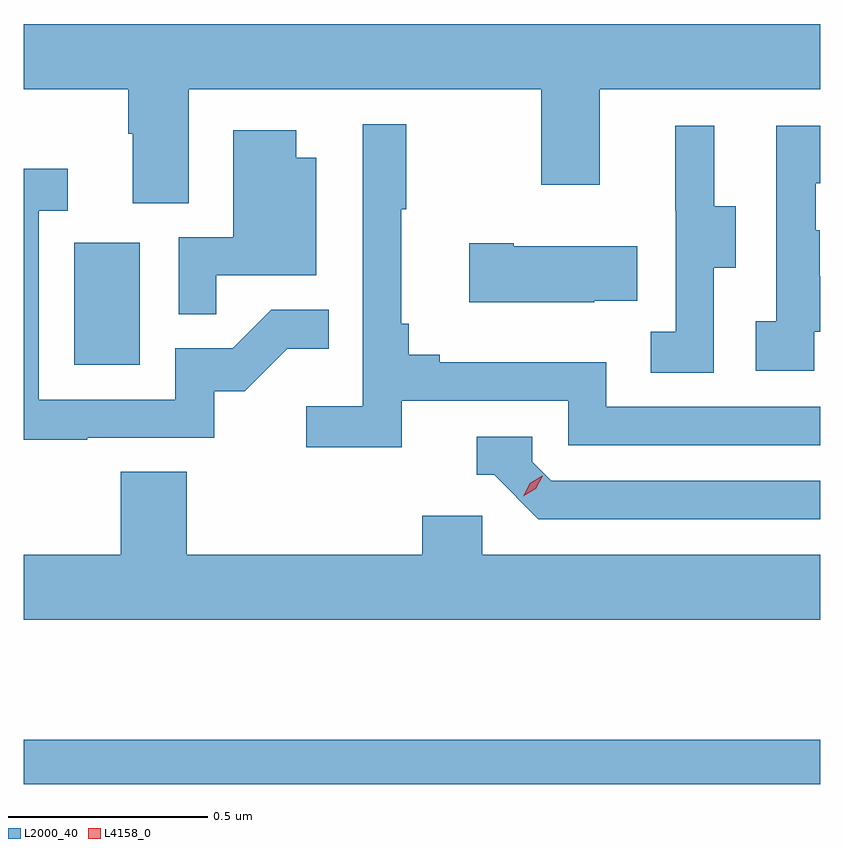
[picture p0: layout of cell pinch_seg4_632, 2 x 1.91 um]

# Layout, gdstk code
import gdstk
lib = gdstk.Library(unit=1e-6, precision=1e-09)
def R(c, l, rs):  # rectangles x0, y0, x1, y1
    for r in rs: c.add(gdstk.rectangle(r[:2], r[2:], *l))
def P(c, l, *ps):  # polygons
    for p in ps: c.add(gdstk.Polygon(p, *l))
L2000_40 = (2000, 40)
L4158_0 = (4158, 0)

pinch_seg4_632 = lib.new_cell('pinch_seg4_632')
R(pinch_seg4_632, L2000_40, [(1059.631,761.776,1061.631,761.887), (1059.758,762.828,1059.922,763.135)])
P(pinch_seg4_632, L2000_40, [(1060.045,763.52),(1060.93,763.52),(1060.93,763.281),(1061.077,763.281),(1061.077,763.52),(1061.631,763.52),(1061.631,763.684),(1059.631,763.684),(1059.631,763.52),(1059.893,763.52),(1059.893,763.408),(1059.905,763.408),(1059.905,763.234),(1060.045,763.234)],
  [(1060.58,762.738),(1060.998,762.738),(1060.998,762.627),(1061.631,762.627),(1061.631,762.723),(1061.094,762.723),(1061.094,762.835),(1060.675,762.835),(1060.675,762.854),(1060.598,762.854),(1060.598,762.931),(1060.579,762.931),(1060.579,763.219),(1060.591,763.219),(1060.591,763.432),(1060.482,763.432),(1060.482,762.724),(1060.341,762.724),(1060.341,762.622),(1060.58,762.622)],
  [(1061.616,762.911),(1061.631,762.911),(1061.631,763.051),(1061.629,763.051),(1061.629,763.166),(1061.619,763.166),(1061.619,763.284),(1061.631,763.284),(1061.631,763.429),(1061.52,763.429),(1061.52,762.938),(1061.469,762.938),(1061.469,762.813),(1061.616,762.813)],
  [(1061.364,763.072),(1061.419,763.072),(1061.419,763.227),(1061.365,763.227),(1061.365,763.429),(1061.267,763.429),(1061.267,763.215),(1061.268,763.215),(1061.268,762.911),(1061.205,762.911),(1061.205,762.808),(1061.364,762.808)],
  [(1060.115,763.053),(1060.366,763.053),(1060.366,763.348),(1060.315,763.348),(1060.315,763.417),(1060.157,763.417),(1060.157,763.149),(1060.02,763.149),(1060.02,762.955),(1060.115,762.955)],
  [(1059.791,762.645),(1060.11,762.645),(1060.11,762.762),(1060.186,762.762),(1060.293,762.869),(1060.397,762.869),(1060.397,762.967),(1060.253,762.967),(1060.156,762.87),(1060.011,762.87),(1060.011,762.741),(1059.669,762.741),(1059.669,763.215),(1059.742,763.215),(1059.742,763.321),(1059.631,763.321),(1059.631,762.64),(1059.791,762.64)],
  [(1061.063,762.989),(1061.171,762.989),(1061.171,763.126),(1060.861,763.126),(1060.861,763.134),(1060.749,763.134),(1060.749,762.986),(1061.063,762.986)],
  [(1061.631,762.537),(1060.956,762.537),(1060.908,762.585),(1060.908,762.648),(1060.769,762.648),(1060.769,762.552),(1060.812,762.552),(1060.923,762.441),(1061.631,762.441)],
  [(1061.631,762.352),(1060.782,762.352),(1060.782,762.45),(1060.631,762.45),(1060.631,762.352),(1060.04,762.352),(1060.04,762.56),(1059.875,762.56),(1059.875,762.352),(1059.631,762.352),(1059.631,762.188),(1061.631,762.188)])
P(pinch_seg4_632, L4158_0, [(1060.885,762.498),(1060.885,762.498),(1060.902,762.531),(1060.933,762.55),(1060.934,762.55),(1060.934,762.55),(1060.917,762.517),(1060.885,762.498)])

lib.write_gds('pinch_seg4_632.gds')
